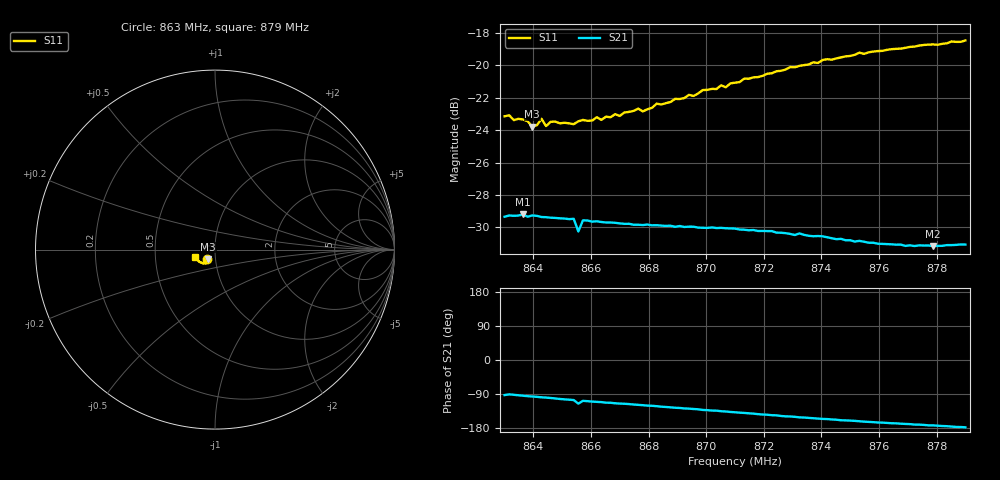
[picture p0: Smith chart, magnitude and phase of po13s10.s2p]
# HZ S RI R 50
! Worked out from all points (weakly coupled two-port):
!   101 points, 863 MHz to 879 MHz, reference 50 ohm
!   highest |S21| = -29.20 dB at 863.64 MHz (marker M1); lowest = -31.2 dB at 877.88 MHz (marker M2)
!   lowest |S11| = -23.8 dB at 863.96 MHz (marker M3), VSWR 1.14, Z = 46.1 - j4.88 ohm
!   |S11| at or under -10 dB: start of sweep to end of sweep
!   S12 and S22 are empty: the file has one direction only
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8.63e8  -0.0435 -0.0544  -0.00153 -0.0341  0 0  0 0
8.6316e8  -0.0448 -0.0539  -0.00043 -0.0344  0 0  0 0
8.6332e8  -0.0405 -0.0543  -0.00106 -0.0343  0 0  0 0
8.6364e8  -0.0409 -0.0544  -0.00257 -0.0346  0 0  0 0
8.6396e8  -0.0375 -0.0527  -0.00379 -0.0342  0 0  0 0
8.6412e8  -0.0375 -0.0535  -0.00431 -0.034  0 0  0 0
8.6428e8  -0.0392 -0.0561  -0.00499 -0.0336  0 0  0 0
8.6444e8  -0.0409 -0.0505  -0.0054 -0.0335  0 0  0 0
8.646e8  -0.0378 -0.0553  -0.00605 -0.0333  0 0  0 0
8.654e8  -0.0344 -0.0561  -0.00907 -0.0323  0 0  0 0
8.6556e8  -0.0358 -0.0569  -0.013 -0.0278  0 0  0 0
8.6572e8  -0.0339 -0.0588  -0.0101 -0.0316  0 0  0 0
8.6604e8  -0.0345 -0.0581  -0.0111 -0.031  0 0  0 0
8.662e8  -0.035 -0.0597  -0.0115 -0.0309  0 0  0 0
8.6636e8  -0.0341 -0.0587  -0.0119 -0.0306  0 0  0 0
8.6844e8  -0.0364 -0.0664  -0.0175 -0.0268  0 0  0 0
8.6988e8  -0.0421 -0.0726  -0.021 -0.0235  0 0  0 0
8.71e8  -0.0483 -0.0741  -0.0233 -0.021  0 0  0 0
8.7372e8  -0.0684 -0.076  -0.0266 -0.0132  0 0  0 0
8.7644e8  -0.093 -0.0628  -0.0273 -0.00635  0 0  0 0
8.7788e8  -0.105 -0.0495  -0.0274 -0.00361  0 0  0 0
8.79e8  -0.1127 -0.0393  -0.0279 -0.00113  0 0  0 0
